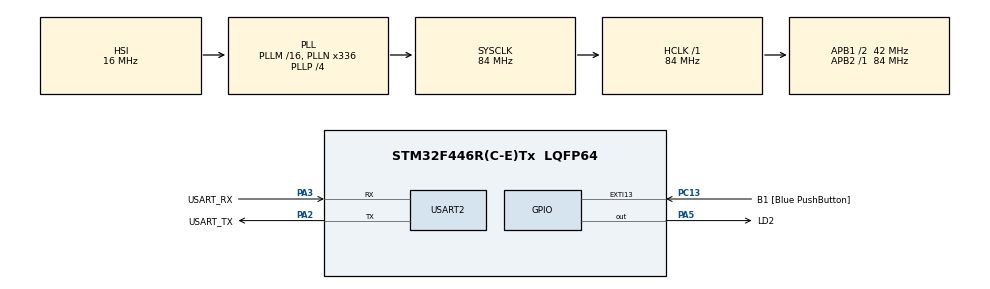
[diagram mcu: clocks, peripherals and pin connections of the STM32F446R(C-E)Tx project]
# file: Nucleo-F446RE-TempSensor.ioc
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ADC1.Channel-1\#ChannelRegularConversion=ADC_CHANNEL_TEMPSENSOR
ADC1.NbrOfConversionFlag=1
ADC1.Rank-1\#ChannelRegularConversion=1
ADC1.SamplingTime-1\#ChannelRegularConversion=ADC_SAMPLETIME_480CYCLES
ADC1.master=1
Mcu.Family=STM32F4
Mcu.Name=STM32F446R(C-E)Tx
Mcu.Package=LQFP64
NVIC.PriorityGroup=NVIC_PRIORITYGROUP_0
PA13.GPIO_Label=TMS
PA13.Mode=Serial_Wire
PA13.Signal=SYS_JTMS-SWDIO
PA14.GPIO_Label=TCK
PA14.Mode=Serial_Wire
PA14.Signal=SYS_JTCK-SWCLK
PA2.GPIO_Label=USART_TX
PA2.Mode=Asynchronous
PA2.Signal=USART2_TX
PA3.GPIO_Label=USART_RX
PA3.Mode=Asynchronous
PA3.Signal=USART2_RX
PA5.GPIO_Label=LD2
PA5.Signal=GPIO_Output
PB3.GPIO_Label=SWO
PB3.Signal=SYS_JTDO-SWO
PC13.GPIO_Label=B1 [Blue PushButton]
PC13.GPIO_ModeDefaultEXTI=GPIO_MODE_IT_FALLING
PC13.Signal=GPXTI13
PC14-OSC32_IN.Signal=RCC_OSC32_IN
PC15-OSC32_OUT.Signal=RCC_OSC32_OUT
PH0-OSC_IN.Signal=RCC_OSC_IN
PH1-OSC_OUT.Signal=RCC_OSC_OUT
ProjectManager.HeapSize=0x200
ProjectManager.StackSize=0x400
ProjectManager.TargetToolchain=STM32CubeIDE
RCC.AHBFreq_Value=84000000
RCC.APB1CLKDivider=RCC_HCLK_DIV2
RCC.APB1Freq_Value=42000000
RCC.APB1TimFreq_Value=84000000
RCC.APB2Freq_Value=84000000
RCC.APB2TimFreq_Value=84000000
RCC.CortexFreq_Value=84000000
RCC.FLatency-AdvancedSettings=FLASH_LATENCY_2
RCC.HCLKFreq_Value=84000000
RCC.HSE_VALUE=8000000
RCC.HSI_VALUE=16000000
RCC.LSE_VALUE=32768
RCC.PLLN=336
RCC.PLLP=RCC_PLLP_DIV4
RCC.SYSCLKFreq_VALUE=84000000
RCC.SYSCLKSource=RCC_SYSCLKSOURCE_PLLCLK
RCC.USBFreq_Value=168000000
RCC.VCOOutputFreq_Value=336000000
USART2.VirtualMode=VM_ASYNC
VP_ADC1_TempSens_Input.Mode=IN-TempSens
board=NUCLEO-F446RE

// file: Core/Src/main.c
/* USER CODE BEGIN Header */
/**
  ******************************************************************************
  * @file           : main.c
  * @brief          : Main program body
  ******************************************************************************
  * @attention
  *
  * Copyright (c) 2026 STMicroelectronics.
  * All rights reserved.
  *
  * This software is licensed under terms that can be found in the LICENSE file
  * in the root directory of this software component.
  * If no LICENSE file comes with this software, it is provided AS-IS.
  *
  ******************************************************************************
  */
/* USER CODE END Header */
#include "main.h"

/* USER CODE BEGIN Includes */
#include <stdio.h>
/* USER CODE END Includes */

ADC_HandleTypeDef hadc1;

UART_HandleTypeDef huart2;

/* USER CODE BEGIN PV */

float temperature;

/* USER CODE END PV */

void SystemClock_Config(void);
static void MX_GPIO_Init(void);
static void MX_ADC1_Init(void);
static void MX_USART2_UART_Init(void);

int main(void)
{

  /* MCU Configuration--------------------------------------------------------*/

  /* Reset of all peripherals, Initializes the Flash interface and the Systick. */
  HAL_Init();

  /* Configure the system clock */
  SystemClock_Config();

  /* Initialize all configured peripherals */
  MX_GPIO_Init();
  MX_ADC1_Init();
  MX_USART2_UART_Init();
  /* USER CODE BEGIN 2 */

  uint16_t TS_CAL1_reading = *(uint16_t *)0x1FFF7A2C;
  uint16_t TS_CAL2_reading = *(uint16_t *)0x1FFF7A2E;
  char *format_str = "Temp: %.2f C\r\n";
  char output[17];

  /* USER CODE END 2 */

  /* Infinite loop */
  while (1)
  {

    /* USER CODE BEGIN 3 */

	  HAL_StatusTypeDef start_status = HAL_ADC_Start(&hadc1);
	  if (start_status == HAL_OK)
	  {
		  HAL_StatusTypeDef poll_status = HAL_ADC_PollForConversion(&hadc1, 10);
		  if (poll_status == HAL_OK)
		  {
			  int live_reading = HAL_ADC_GetValue(&hadc1);
			  temperature = 30 + (80.0 / (TS_CAL2_reading - TS_CAL1_reading)) * (live_reading - TS_CAL1_reading);
			  int size = snprintf(output, sizeof(output), format_str, temperature);
			  HAL_StatusTypeDef transmit_status = HAL_UART_Transmit(&huart2, (uint8_t *)output, size, 10);
		  }
	  }
	  HAL_Delay(1000);

  }
  /* USER CODE END 3 */
}

void SystemClock_Config(void)
{
  RCC_OscInitTypeDef RCC_OscInitStruct = {0};
  RCC_ClkInitTypeDef RCC_ClkInitStruct = {0};

  /** Configure the main internal regulator output voltage
  */
  __HAL_RCC_PWR_CLK_ENABLE();
  __HAL_PWR_VOLTAGESCALING_CONFIG(PWR_REGULATOR_VOLTAGE_SCALE3);

  /** Initializes the RCC Oscillators according to the specified parameters
  * in the RCC_OscInitTypeDef structure.
  */
  RCC_OscInitStruct.OscillatorType = RCC_OSCILLATORTYPE_HSI;
  RCC_OscInitStruct.HSIState = RCC_HSI_ON;
  RCC_OscInitStruct.HSICalibrationValue = RCC_HSICALIBRATION_DEFAULT;
  RCC_OscInitStruct.PLL.PLLState = RCC_PLL_ON;
  RCC_OscInitStruct.PLL.PLLSource = RCC_PLLSOURCE_HSI;
  RCC_OscInitStruct.PLL.PLLM = 16;
  RCC_OscInitStruct.PLL.PLLN = 336;
  RCC_OscInitStruct.PLL.PLLP = RCC_PLLP_DIV4;
  RCC_OscInitStruct.PLL.PLLQ = 2;
  RCC_OscInitStruct.PLL.PLLR = 2;
  if (HAL_RCC_OscConfig(&RCC_OscInitStruct) != HAL_OK)
  {
    Error_Handler();
  }

  /** Initializes the CPU, AHB and APB buses clocks
  */
  RCC_ClkInitStruct.ClockType = RCC_CLOCKTYPE_HCLK|RCC_CLOCKTYPE_SYSCLK
                              |RCC_CLOCKTYPE_PCLK1|RCC_CLOCKTYPE_PCLK2;
  RCC_ClkInitStruct.SYSCLKSource = RCC_SYSCLKSOURCE_PLLCLK;
  RCC_ClkInitStruct.AHBCLKDivider = RCC_SYSCLK_DIV1;
  RCC_ClkInitStruct.APB1CLKDivider = RCC_HCLK_DIV2;
  RCC_ClkInitStruct.APB2CLKDivider = RCC_HCLK_DIV1;

  if (HAL_RCC_ClockConfig(&RCC_ClkInitStruct, FLASH_LATENCY_2) != HAL_OK)
  {
    Error_Handler();
  }
}

static void MX_ADC1_Init(void)
{

  ADC_ChannelConfTypeDef sConfig = {0};

  /** Configure the global features of the ADC (Clock, Resolution, Data Alignment and number of conversion)
  */
  hadc1.Instance = ADC1;
  hadc1.Init.ClockPrescaler = ADC_CLOCK_SYNC_PCLK_DIV4;
  hadc1.Init.Resolution = ADC_RESOLUTION_12B;
  hadc1.Init.ScanConvMode = DISABLE;
  hadc1.Init.ContinuousConvMode = DISABLE;
  hadc1.Init.DiscontinuousConvMode = DISABLE;
  hadc1.Init.ExternalTrigConvEdge = ADC_EXTERNALTRIGCONVEDGE_NONE;
  hadc1.Init.ExternalTrigConv = ADC_SOFTWARE_START;
  hadc1.Init.DataAlign = ADC_DATAALIGN_RIGHT;
  hadc1.Init.NbrOfConversion = 1;
  hadc1.Init.DMAContinuousRequests = DISABLE;
  hadc1.Init.EOCSelection = ADC_EOC_SINGLE_CONV;
  if (HAL_ADC_Init(&hadc1) != HAL_OK)
  {
    Error_Handler();
  }

  /** Configure for the selected ADC regular channel its corresponding rank in the sequencer and its sample time.
  */
  sConfig.Channel = ADC_CHANNEL_TEMPSENSOR;
  sConfig.Rank = 1;
  sConfig.SamplingTime = ADC_SAMPLETIME_480CYCLES;
  if (HAL_ADC_ConfigChannel(&hadc1, &sConfig) != HAL_OK)
  {
    Error_Handler();
  }

}

static void MX_USART2_UART_Init(void)
{

  huart2.Instance = USART2;
  huart2.Init.BaudRate = 115200;
  huart2.Init.WordLength = UART_WORDLENGTH_8B;
  huart2.Init.StopBits = UART_STOPBITS_1;
  huart2.Init.Parity = UART_PARITY_NONE;
  huart2.Init.Mode = UART_MODE_TX_RX;
  huart2.Init.HwFlowCtl = UART_HWCONTROL_NONE;
  huart2.Init.OverSampling = UART_OVERSAMPLING_16;
  if (HAL_UART_Init(&huart2) != HAL_OK)
  {
    Error_Handler();
  }

}

static void MX_GPIO_Init(void)
{
  GPIO_InitTypeDef GPIO_InitStruct = {0};

  /* GPIO Ports Clock Enable */
  __HAL_RCC_GPIOC_CLK_ENABLE();
  __HAL_RCC_GPIOH_CLK_ENABLE();
  __HAL_RCC_GPIOA_CLK_ENABLE();
  __HAL_RCC_GPIOB_CLK_ENABLE();

  /*Configure GPIO pin Output Level */
  HAL_GPIO_WritePin(LD2_GPIO_Port, LD2_Pin, GPIO_PIN_RESET);

  /*Configure GPIO pin : B1_Pin */
  GPIO_InitStruct.Pin = B1_Pin;
  GPIO_InitStruct.Mode = GPIO_MODE_IT_FALLING;
  GPIO_InitStruct.Pull = GPIO_NOPULL;
  HAL_GPIO_Init(B1_GPIO_Port, &GPIO_InitStruct);

  /*Configure GPIO pin : LD2_Pin */
  GPIO_InitStruct.Pin = LD2_Pin;
  GPIO_InitStruct.Mode = GPIO_MODE_OUTPUT_PP;
  GPIO_InitStruct.Pull = GPIO_NOPULL;
  GPIO_InitStruct.Speed = GPIO_SPEED_FREQ_LOW;
  HAL_GPIO_Init(LD2_GPIO_Port, &GPIO_InitStruct);

}

void Error_Handler(void)
{
  __disable_irq();
  while (1)
  {
  }
}
